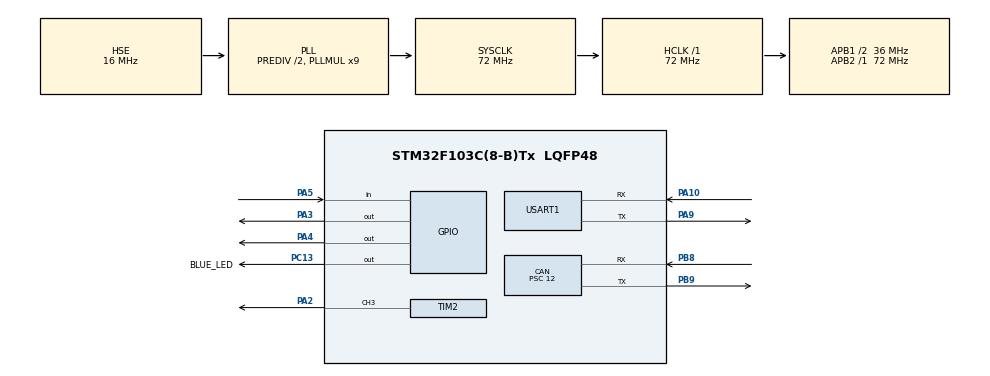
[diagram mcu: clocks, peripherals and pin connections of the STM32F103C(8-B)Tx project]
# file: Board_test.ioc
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CAN.BS1=CAN_BS1_4TQ
CAN.CalculateBaudRate=500000
CAN.CalculateTimeBit=1999.99
CAN.CalculateTimeQuantum=333.33333333333337
CAN.Prescaler=12
Dma.Request0=TIM2_CH3
Dma.TIM2_CH3.0.Direction=DMA_MEMORY_TO_PERIPH
Dma.TIM2_CH3.0.Instance=DMA1_Channel1
Dma.TIM2_CH3.0.MemDataAlignment=DMA_MDATAALIGN_HALFWORD
Dma.TIM2_CH3.0.MemInc=DMA_MINC_ENABLE
Dma.TIM2_CH3.0.Mode=DMA_NORMAL
Dma.TIM2_CH3.0.PeriphDataAlignment=DMA_PDATAALIGN_HALFWORD
Dma.TIM2_CH3.0.PeriphInc=DMA_PINC_DISABLE
Dma.TIM2_CH3.0.Priority=DMA_PRIORITY_LOW
FREERTOS.Tasks01=defaultTask,0,128,StartDefaultTask,Default,NULL,Dynamic,NULL,NULL;CANTask,-1,128,StartCANTask,Default,NULL,Dynamic,NULL,NULL;HPT,1,128,StartHPT,Default,NULL,Dynamic,NULL,NULL
Mcu.Family=STM32F1
Mcu.Name=STM32F103C(8-B)Tx
Mcu.Package=LQFP48
NVIC.CAN1_RX1_IRQn=true\:5\:0\:false\:false\:true\:true\:true\:true
NVIC.DMA1_Channel1_IRQn=true\:5\:0\:false\:false\:true\:true\:false\:true
NVIC.PriorityGroup=NVIC_PRIORITYGROUP_4
NVIC.TIM1_UP_IRQn=true\:0\:0\:false\:false\:true\:false\:false\:true
NVIC.TIM2_IRQn=true\:5\:0\:false\:false\:true\:true\:true\:true
NVIC.TimeBase=TIM1_UP_IRQn
NVIC.TimeBaseIP=TIM1
NVIC.USB_LP_CAN1_RX0_IRQn=true\:5\:0\:false\:false\:true\:true\:true\:true
PA10.Mode=Asynchronous
PA10.Signal=USART1_RX
PA13.Mode=Serial_Wire
PA13.Signal=SYS_JTMS-SWDIO
PA14.Mode=Serial_Wire
PA14.Signal=SYS_JTCK-SWCLK
PA2.Signal=S_TIM2_CH3
PA3.Signal=GPIO_Output
PA4.Signal=GPIO_Output
PA5.Signal=GPIO_Input
PA9.Mode=Asynchronous
PA9.Signal=USART1_TX
PB8.Mode=CAN_Activate
PB8.Signal=CAN_RX
PB9.Mode=CAN_Activate
PB9.Signal=CAN_TX
PC13-TAMPER-RTC.GPIO_Label=BLUE_LED
PC13-TAMPER-RTC.Signal=GPIO_Output
PD0-OSC_IN.Mode=HSE-External-Oscillator
PD0-OSC_IN.Signal=RCC_OSC_IN
PD1-OSC_OUT.Mode=HSE-External-Oscillator
PD1-OSC_OUT.Signal=RCC_OSC_OUT
ProjectManager.HeapSize=0x200
ProjectManager.StackSize=0x400
ProjectManager.TargetToolchain=TrueSTUDIO
RCC.AHBFreq_Value=72000000
RCC.APB1CLKDivider=RCC_HCLK_DIV2
RCC.APB1Freq_Value=36000000
RCC.APB1TimFreq_Value=72000000
RCC.APB2Freq_Value=72000000
RCC.APB2TimFreq_Value=72000000
RCC.HCLKFreq_Value=72000000
RCC.HSEDivPLL=RCC_HSE_PREDIV_DIV2
RCC.HSE_VALUE=16000000
RCC.PLLMUL=RCC_PLL_MUL9
RCC.PLLSourceVirtual=RCC_PLLSOURCE_HSE
RCC.SYSCLKFreq_VALUE=72000000
RCC.SYSCLKSource=RCC_SYSCLKSOURCE_PLLCLK
RCC.USBFreq_Value=72000000
SH.S_TIM2_CH3.0=TIM2_CH3,PWM Generation3 CH3
TIM2.AutoReloadPreload=TIM_AUTORELOAD_PRELOAD_ENABLE
TIM2.Channel-PWM\ Generation3\ CH3=TIM_CHANNEL_3
TIM2.Period=90-1
USART1.VirtualMode=VM_ASYNC
VP_FREERTOS_VS_CMSIS_V1.Mode=CMSIS_V1
VP_SYS_VS_tim1.Mode=TIM1
VP_TIM2_VS_ClockSourceINT.Mode=Internal
board=custom

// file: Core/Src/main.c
/* USER CODE BEGIN Header */
/**
  ******************************************************************************
  * @file           : main.c
  * @brief          : Main program body
  ******************************************************************************
  * @attention
  *
  * <h2><center>&copy; Copyright (c) 2021 STMicroelectronics.
  * All rights reserved.</center></h2>
  *
  * This software component is licensed by ST under Ultimate Liberty license
  * SLA0044, the "License"; You may not use this file except in compliance with
  * the License. You may obtain a copy of the License at:
  *                             www.st.com/SLA0044
  *
  ******************************************************************************
  */
/* USER CODE END Header */
#include "main.h"
#include "cmsis_os.h"

/* USER CODE BEGIN Includes */
#include "stdio.h"
/* USER CODE END Includes */

CAN_HandleTypeDef hcan;

TIM_HandleTypeDef htim2;
DMA_HandleTypeDef hdma_tim2_ch3;

UART_HandleTypeDef huart1;

osThreadId defaultTaskHandle;
osThreadId CANTaskHandle;
osThreadId HPTHandle;

void SystemClock_Config(void);
static void MX_GPIO_Init(void);
static void MX_DMA_Init(void);
static void MX_CAN_Init(void);
static void MX_USART1_UART_Init(void);
static void MX_TIM2_Init(void);
void StartDefaultTask(void const * argument);
void StartCANTask(void const * argument);
void StartHPT(void const * argument);

/* USER CODE BEGIN 0 */
//==================CAN==========================================================================================================
CAN_TxHeaderTypeDef TxHeader;
CAN_RxHeaderTypeDef RxHeader;
uint32_t TxMailbox;
uint8_t TxData[8] = {0x01, 0x1A, 0x03, 0x03, 0x02, 0x00, 0x00, 0x00};
uint8_t RxData[8];

uint16_t CAN_ID = 0x001;//這塊板子的ID
int datacheck = 0;
int CAN_Neopixel = 0;
int CAN_Motor = 0;
int MOTOR_GO = 0;
//int count=0;

void HAL_CAN_RxFifo0MsgPendingCallback(CAN_HandleTypeDef *hcan)
{
	//HAL_GPIO_TogglePin(BLUE_LED_GPIO_Port, BLUE_LED_Pin);
	if (HAL_CAN_GetRxMessage(hcan, CAN_RX_FIFO0, &RxHeader, RxData) != HAL_OK)
		  {
			  //HAL_UART_Transmit(&huart2, (uint8_t *)"Receiving Data Failed\r\n\r\n", 24, 1000);
		      Error_Handler();
		  }
	 int error_message = 0;
		  if (RxHeader.StdId == CAN_ID && RxData[1] == 0x1A) //接收到資料(一對一)
		  {
			  if(RxData[2] == 0x03 && RxData[3] >= 0x00 && RxData[3] <= 0x04 && RxData[4] >= 0x00 && RxData[4] <= 0x07)//檢查第一組資料是否正確
			  {
				  CAN_Neopixel = 1;
			  }
			  else if(RxData[2] == 0x02 && RxData[3] == 0x00 && RxData[4] >= 0x00 && RxData[4] <= 0x01)//檢查第一組資料(抽屜門)
			  {
				  CAN_Motor = 1;
			  }
			  else if(RxData[2] == 0x00 && RxData[3] == 0x00 && RxData[4] == 0x00)
			  {
			  }
			  else
			  {
				  error_message++;
			  }
			  if(RxData[5] == 0x03 && RxData[6] >= 0x00 && RxData[6] <= 0x04 && RxData[7] >= 0x00 && RxData[7] <= 0x07)//檢查第一組資料是否正確
			  {
				  CAN_Neopixel = 2;
			  }
			  else if(RxData[5] == 0x02 && RxData[6] == 0x00 && RxData[7] >= 0x00 && RxData[7] <= 0x01)//檢查第一組資料(抽屜門)
			  {
				  CAN_Motor = 2;
			  }
			  else if(RxData[5] == 0x00 && RxData[6] == 0x00 && RxData[7] == 0x00)
			  {
			  }
			  else
			  {
				  error_message++;
			  }
			  TxHeader.StdId = 0x010;
			  for(int i=0; i<8; i++)
			  {
				  TxData[i]=RxData[i];
			  }
			  if(error_message>0){
				  TxData[1]=0x1C;
			  }
			  else
			  {
				  TxData[1]=0x1B;
			  }
//			  if (HAL_CAN_AddTxMessage(&hcan, &TxHeader, TxData, &TxMailbox) != HAL_OK)
//			  {
//				 // HAL_UART_Transmit(&huart2, (uint8_t *)"TxBackError\r\n\r\n", 15, 1000);
//			     Error_Handler ();
//			  }
		  }

}

void weidelay(int index)
{
	for (int i=0;i<index;i++)
	{

	}
}

//====================NeoPixel===================
#define MAX_LED 39
#define USE_BRIGHTNESS 1
int datasentflag=0;
uint8_t LED_Data[MAX_LED][5];
uint8_t LED_Mod[MAX_LED][5];  // for brightness
uint16_t pwmData[(32*MAX_LED)+50];
int ledcolor=1;
int ledcolor_buffer=1;
//int ledcolor_table[8][3]={{0,0,0},{255,255,255},{251,192,45},{249,168,37},{255,152,0},{255,0,255},{255,241,118},{0,255,255}};
int ledcolor_table[8][3]={{0,0,0},{255,255,255},{255,128,128},{0,255,0},{0,0,255},{255,0,255},{255,152,0},{0,255,255}};
//{255,152,0}yellow

int ledmode=1;

void Set_LED (int LEDnum, int Red, int Green, int Blue)
{
	LED_Data[LEDnum][0] = LEDnum;
	LED_Data[LEDnum][1] = Green;
	LED_Data[LEDnum][2] = Red;
	LED_Data[LEDnum][3] = Blue;
	LED_Data[LEDnum][4] = 0;
}

void Set_Brightness (int brightness)  // 0-40
{
#if USE_BRIGHTNESS

	if (brightness > 40) brightness = 40;
	for (int i=0; i<MAX_LED; i++)
	{
		LED_Mod[i][0] = LED_Data[i][0];
		for (int j=1; j<5; j++)
		{

			LED_Mod[i][j] = brightness!=40?LED_Data[i][j]*brightness/40:LED_Data[i][j];
		}
	}
#endif
}

void WS2812_Send (void)
{
	uint32_t indx=0;
	uint32_t color;

	for (int i= 0; i<MAX_LED; i++)
	{
		#if USE_BRIGHTNESS
				color = ((LED_Mod[i][1]<<24) | (LED_Mod[i][2]<<16) | (LED_Mod[i][3]<<8));
		#else
				color = ((LED_Data[i][1]<<24) | (LED_Data[i][2]<<16) | (LED_Data[i][3]<<8));
		#endif

		for (int j=31; j>=0; j--)
		{
			if (color&(1<<j))pwmData[indx] = 57;//    64/100
			else pwmData[indx] = 25;//   32/100
			indx++;
		}
	}

	for (int i=0; i<50; i++)
	{
		pwmData[indx] = 0;
		indx++;
	}

	HAL_TIM_PWM_Start_DMA(&htim2, TIM_CHANNEL_3, (uint32_t *)pwmData, indx);
	while (!datasentflag){};
	datasentflag = 0;
}
void HAL_TIM_PWM_PulseFinishedCallback(TIM_HandleTypeDef *htim)
{
	HAL_TIM_PWM_Stop_DMA(&htim2, TIM_CHANNEL_3);
	datasentflag=1;
}

//====================NeoPixel===================
/* USER CODE END 0 */

int main(void)
{

  /* MCU Configuration--------------------------------------------------------*/

  /* Reset of all peripherals, Initializes the Flash interface and the Systick. */
  HAL_Init();

  /* Configure the system clock */
  SystemClock_Config();

  /* Initialize all configured peripherals */
  MX_GPIO_Init();
  MX_DMA_Init();
  MX_CAN_Init();
  MX_USART1_UART_Init();
  MX_TIM2_Init();
  /* USER CODE BEGIN 2 */
  HAL_CAN_Start(&hcan);
  HAL_CAN_ActivateNotification(&hcan, CAN_IT_RX_FIFO0_MSG_PENDING);
  TxHeader.DLC = 8;
  TxHeader.ExtId = 0;
  TxHeader.IDE = CAN_ID_STD;
  TxHeader.RTR = CAN_RTR_DATA;
  TxHeader.StdId = 0x001;
  TxHeader.TransmitGlobalTime = DISABLE;
  //TxData[0] = 0xf3;

  	/*HAL_Delay(200);
  	HAL_GPIO_TogglePin(BLUE_LED_GPIO_Port, BLUE_LED_Pin);
  	HAL_Delay(200);
  	HAL_GPIO_TogglePin(BLUE_LED_GPIO_Port, BLUE_LED_Pin);
  	HAL_Delay(200);
  	HAL_GPIO_TogglePin(BLUE_LED_GPIO_Port, BLUE_LED_Pin);
  	HAL_Delay(200);
  	HAL_GPIO_TogglePin(BLUE_LED_GPIO_Port, BLUE_LED_Pin);*/

  	for(int i=0;i<MAX_LED;i++)
  	{
  	Set_LED(i,255,255,0);//rgb
  	}
  	Set_Brightness(20);//0~45
  	WS2812_Send();
  	HAL_Delay(200);
  	Set_Brightness(0);//0~45
  	WS2812_Send();
  	HAL_Delay(200);
  	Set_Brightness(20);//0~45
  	WS2812_Send();
  	HAL_Delay(200);
  	Set_Brightness(0);//0~45
  	WS2812_Send();
  	HAL_Delay(200);
  /* USER CODE END 2 */

  /* Create the thread(s) */
  /* definition and creation of defaultTask */
  osThreadDef(defaultTask, StartDefaultTask, osPriorityBelowNormal, 0, 128);
  defaultTaskHandle = osThreadCreate(osThread(defaultTask), NULL);

  /* definition and creation of CANTask */
  osThreadDef(CANTask, StartCANTask, osPriorityNormal, 0, 128);
  CANTaskHandle = osThreadCreate(osThread(CANTask), NULL);

  /* definition and creation of HPT */
  osThreadDef(HPT, StartHPT, osPriorityAboveNormal, 0, 128);
  HPTHandle = osThreadCreate(osThread(HPT), NULL);

  /* Start scheduler */
  osKernelStart();

  /* We should never get here as control is now taken by the scheduler */
  /* Infinite loop */
  while (1)
  {

  }
}

void SystemClock_Config(void)
{
  RCC_OscInitTypeDef RCC_OscInitStruct = {0};
  RCC_ClkInitTypeDef RCC_ClkInitStruct = {0};

  /** Initializes the RCC Oscillators according to the specified parameters
  * in the RCC_OscInitTypeDef structure.
  */
  RCC_OscInitStruct.OscillatorType = RCC_OSCILLATORTYPE_HSE;
  RCC_OscInitStruct.HSEState = RCC_HSE_ON;
  RCC_OscInitStruct.HSEPredivValue = RCC_HSE_PREDIV_DIV2;
  RCC_OscInitStruct.HSIState = RCC_HSI_ON;
  RCC_OscInitStruct.PLL.PLLState = RCC_PLL_ON;
  RCC_OscInitStruct.PLL.PLLSource = RCC_PLLSOURCE_HSE;
  RCC_OscInitStruct.PLL.PLLMUL = RCC_PLL_MUL9;
  if (HAL_RCC_OscConfig(&RCC_OscInitStruct) != HAL_OK)
  {
    Error_Handler();
  }
  /** Initializes the CPU, AHB and APB buses clocks
  */
  RCC_ClkInitStruct.ClockType = RCC_CLOCKTYPE_HCLK|RCC_CLOCKTYPE_SYSCLK
                              |RCC_CLOCKTYPE_PCLK1|RCC_CLOCKTYPE_PCLK2;
  RCC_ClkInitStruct.SYSCLKSource = RCC_SYSCLKSOURCE_PLLCLK;
  RCC_ClkInitStruct.AHBCLKDivider = RCC_SYSCLK_DIV1;
  RCC_ClkInitStruct.APB1CLKDivider = RCC_HCLK_DIV2;
  RCC_ClkInitStruct.APB2CLKDivider = RCC_HCLK_DIV1;

  if (HAL_RCC_ClockConfig(&RCC_ClkInitStruct, FLASH_LATENCY_2) != HAL_OK)
  {
    Error_Handler();
  }
}

static void MX_CAN_Init(void)
{

  hcan.Instance = CAN1;
  hcan.Init.Prescaler = 12;
  hcan.Init.Mode = CAN_MODE_NORMAL;
  hcan.Init.SyncJumpWidth = CAN_SJW_1TQ;
  hcan.Init.TimeSeg1 = CAN_BS1_4TQ;
  hcan.Init.TimeSeg2 = CAN_BS2_1TQ;
  hcan.Init.TimeTriggeredMode = DISABLE;
  hcan.Init.AutoBusOff = DISABLE;
  hcan.Init.AutoWakeUp = DISABLE;
  hcan.Init.AutoRetransmission = DISABLE;
  hcan.Init.ReceiveFifoLocked = DISABLE;
  hcan.Init.TransmitFifoPriority = DISABLE;
  if (HAL_CAN_Init(&hcan) != HAL_OK)
  {
    Error_Handler();
  }
  /* USER CODE BEGIN CAN_Init 2 */
  CAN_FilterTypeDef canfilterconfig;
  canfilterconfig.FilterActivation = CAN_FILTER_ENABLE;
  canfilterconfig.FilterBank = 10;
  canfilterconfig.FilterFIFOAssignment = CAN_RX_FIFO0;
  canfilterconfig.FilterIdHigh = 0x0000;
  canfilterconfig.FilterIdLow = 0x0000;
  canfilterconfig.FilterMaskIdHigh = 0x0000;
  canfilterconfig.FilterMaskIdLow = 0x0000;
  canfilterconfig.FilterMode = CAN_FILTERMODE_IDMASK;
  canfilterconfig.FilterScale = CAN_FILTERSCALE_32BIT;
  canfilterconfig.SlaveStartFilterBank = 0;
  HAL_CAN_ConfigFilter(&hcan, &canfilterconfig);
  /* USER CODE END CAN_Init 2 */

}

static void MX_TIM2_Init(void)
{

  TIM_ClockConfigTypeDef sClockSourceConfig = {0};
  TIM_MasterConfigTypeDef sMasterConfig = {0};
  TIM_OC_InitTypeDef sConfigOC = {0};

  htim2.Instance = TIM2;
  htim2.Init.Prescaler = 0;
  htim2.Init.CounterMode = TIM_COUNTERMODE_UP;
  htim2.Init.Period = 90-1;
  htim2.Init.ClockDivision = TIM_CLOCKDIVISION_DIV1;
  htim2.Init.AutoReloadPreload = TIM_AUTORELOAD_PRELOAD_ENABLE;
  if (HAL_TIM_Base_Init(&htim2) != HAL_OK)
  {
    Error_Handler();
  }
  sClockSourceConfig.ClockSource = TIM_CLOCKSOURCE_INTERNAL;
  if (HAL_TIM_ConfigClockSource(&htim2, &sClockSourceConfig) != HAL_OK)
  {
    Error_Handler();
  }
  if (HAL_TIM_PWM_Init(&htim2) != HAL_OK)
  {
    Error_Handler();
  }
  sMasterConfig.MasterOutputTrigger = TIM_TRGO_RESET;
  sMasterConfig.MasterSlaveMode = TIM_MASTERSLAVEMODE_DISABLE;
  if (HAL_TIMEx_MasterConfigSynchronization(&htim2, &sMasterConfig) != HAL_OK)
  {
    Error_Handler();
  }
  sConfigOC.OCMode = TIM_OCMODE_PWM1;
  sConfigOC.Pulse = 0;
  sConfigOC.OCPolarity = TIM_OCPOLARITY_HIGH;
  sConfigOC.OCFastMode = TIM_OCFAST_DISABLE;
  if (HAL_TIM_PWM_ConfigChannel(&htim2, &sConfigOC, TIM_CHANNEL_3) != HAL_OK)
  {
    Error_Handler();
  }
  HAL_TIM_MspPostInit(&htim2);

}

static void MX_USART1_UART_Init(void)
{

  huart1.Instance = USART1;
  huart1.Init.BaudRate = 115200;
  huart1.Init.WordLength = UART_WORDLENGTH_8B;
  huart1.Init.StopBits = UART_STOPBITS_1;
  huart1.Init.Parity = UART_PARITY_NONE;
  huart1.Init.Mode = UART_MODE_TX_RX;
  huart1.Init.HwFlowCtl = UART_HWCONTROL_NONE;
  huart1.Init.OverSampling = UART_OVERSAMPLING_16;
  if (HAL_UART_Init(&huart1) != HAL_OK)
  {
    Error_Handler();
  }

}

static void MX_DMA_Init(void)
{

  /* DMA controller clock enable */
  __HAL_RCC_DMA1_CLK_ENABLE();

  /* DMA interrupt init */
  /* DMA1_Channel1_IRQn interrupt configuration */
  HAL_NVIC_SetPriority(DMA1_Channel1_IRQn, 5, 0);
  HAL_NVIC_EnableIRQ(DMA1_Channel1_IRQn);

}

static void MX_GPIO_Init(void)
{
  GPIO_InitTypeDef GPIO_InitStruct = {0};

  /* GPIO Ports Clock Enable */
  __HAL_RCC_GPIOC_CLK_ENABLE();
  __HAL_RCC_GPIOD_CLK_ENABLE();
  __HAL_RCC_GPIOA_CLK_ENABLE();
  __HAL_RCC_GPIOB_CLK_ENABLE();

  /*Configure GPIO pin Output Level */
  HAL_GPIO_WritePin(BLUE_LED_GPIO_Port, BLUE_LED_Pin, GPIO_PIN_RESET);

  /*Configure GPIO pin Output Level */
  HAL_GPIO_WritePin(GPIOA, GPIO_PIN_3|GPIO_PIN_4, GPIO_PIN_RESET);

  /*Configure GPIO pin : BLUE_LED_Pin */
  GPIO_InitStruct.Pin = BLUE_LED_Pin;
  GPIO_InitStruct.Mode = GPIO_MODE_OUTPUT_PP;
  GPIO_InitStruct.Pull = GPIO_NOPULL;
  GPIO_InitStruct.Speed = GPIO_SPEED_FREQ_LOW;
  HAL_GPIO_Init(BLUE_LED_GPIO_Port, &GPIO_InitStruct);

  /*Configure GPIO pins : PA3 PA4 */
  GPIO_InitStruct.Pin = GPIO_PIN_3|GPIO_PIN_4;
  GPIO_InitStruct.Mode = GPIO_MODE_OUTPUT_PP;
  GPIO_InitStruct.Pull = GPIO_NOPULL;
  GPIO_InitStruct.Speed = GPIO_SPEED_FREQ_LOW;
  HAL_GPIO_Init(GPIOA, &GPIO_InitStruct);

  /*Configure GPIO pin : PA5 */
  GPIO_InitStruct.Pin = GPIO_PIN_5;
  GPIO_InitStruct.Mode = GPIO_MODE_INPUT;
  GPIO_InitStruct.Pull = GPIO_NOPULL;
  HAL_GPIO_Init(GPIOA, &GPIO_InitStruct);

}

void StartDefaultTask(void const * argument)
{
  /* USER CODE BEGIN 5 */
	 /* Infinite loop */
	  for(;;)
	  {
		  if (CAN_Motor==1 || CAN_Motor==2)
		  {
			  if (RxData[CAN_Motor*3+1] == 0x01)		//open door
			  {
				  HAL_GPIO_TogglePin(BLUE_LED_GPIO_Port, BLUE_LED_Pin);
				  HAL_GPIO_WritePin(GPIOA,GPIO_PIN_4,GPIO_PIN_SET);
				  		  for (int i=0;i<35000;i++)
				  		  {
				  		  	HAL_GPIO_WritePin(GPIOA,GPIO_PIN_3,GPIO_PIN_SET);
				  		  	weidelay(500);
				  		  	HAL_GPIO_WritePin(GPIOA,GPIO_PIN_3,GPIO_PIN_RESET);
				  		  	weidelay(500);
				  		  }
//				  MOTOR_GO=1;
//				  osDelay(3000);
//				  MOTOR_GO=0;
 			   CAN_Motor=70;

			  }
			  else if (RxData[CAN_Motor*3+1] == 0x00)		//close door
			  {
				  HAL_GPIO_TogglePin(BLUE_LED_GPIO_Port, BLUE_LED_Pin);
				  HAL_GPIO_WritePin(GPIOA,GPIO_PIN_4,GPIO_PIN_RESET);
				  	    while (!HAL_GPIO_ReadPin(GPIOA,GPIO_PIN_5))
				  	    {
				  	    	HAL_GPIO_WritePin(GPIOA,GPIO_PIN_3,GPIO_PIN_SET);
				  			weidelay(500);
				  	    	HAL_GPIO_WritePin(GPIOA,GPIO_PIN_3,GPIO_PIN_RESET);
				  			weidelay(500);
				  	    	if (HAL_GPIO_ReadPin(GPIOA,GPIO_PIN_5))
				  	    	{
				  	    		break;
				  	    	}
				  	    }
				  	  CAN_Motor=69;
			  }

		  }

	    osDelay(1);
	  }
  /* USER CODE END 5 */
}

void StartCANTask(void const * argument)
{
  /* USER CODE BEGIN StartCANTask */
	/* Infinite loop */
	  for(;;)
	  {

		  if(ledcolor_buffer!=ledcolor)
		  {
			  ledcolor_buffer=ledcolor;
			  for(int i=0;i<MAX_LED;i++)
			  {
				  Set_LED(i, ledcolor_table[ledcolor_buffer][0], ledcolor_table[ledcolor_buffer][1], ledcolor_table[ledcolor_buffer][2]);
			  }
		  }

		  if(CAN_Neopixel)
		  {
			  ledmode=RxData[3*CAN_Neopixel];//3 or 6
			  ledcolor=RxData[3*CAN_Neopixel+1];//4 or 7
			  CAN_Neopixel = 0;
		  }
	    osDelay(10);
	  }
  /* USER CODE END StartCANTask */
}

void StartHPT(void const * argument)
{
  /* USER CODE BEGIN StartHPT */
	int breath_bright = 0;
	int breath_u1d0 = 1;
	int blink_delay = 0;
		  for(int i=0;i<MAX_LED;i++)
		  {
			  Set_LED(i, ledcolor_table[ledcolor_buffer][0], ledcolor_table[ledcolor_buffer][1], ledcolor_table[ledcolor_buffer][2]);
		  }
		/* Infinite loop */
		for(;;)
		{
			if(ledmode <= 0x02)
			{
				  Set_Brightness(ledmode*20);//正常要20但亮度不明顯
				  blink_delay=0;
			}
			else if(ledmode == 0x03)
			{
				blink_delay=0;
				if(breath_u1d0)
				{
					breath_bright++;
					breath_u1d0=breath_bright<20;
				}
				else
				{
					breath_bright--;
					breath_u1d0=!(breath_bright>0);
				}
				Set_Brightness(breath_bright);
			}
			else if(ledmode == 0x04)
			{
				if(blink_delay==0)
				{
					Set_Brightness(20);
				}
				else if(blink_delay==5)
				{
					Set_Brightness(0);
				}
				blink_delay=blink_delay<10?blink_delay+1:0;
			}
				WS2812_Send();
				osDelay (50);
		}
  /* USER CODE END StartHPT */
}

 /**
  * @brief  Period elapsed callback in non blocking mode
  * @note   This function is called  when TIM1 interrupt took place, inside
  * HAL_TIM_IRQHandler(). It makes a direct call to HAL_IncTick() to increment
  * a global variable "uwTick" used as application time base.
  * @param  htim : TIM handle
  * @retval None
  */
void HAL_TIM_PeriodElapsedCallback(TIM_HandleTypeDef *htim)
{
  if (htim->Instance == TIM1) {
    HAL_IncTick();
  }
}

void Error_Handler(void)
{
  __disable_irq();
  while (1)
  {
  }
}

/************************ (C) COPYRIGHT STMicroelectronics *****END OF FILE****/
